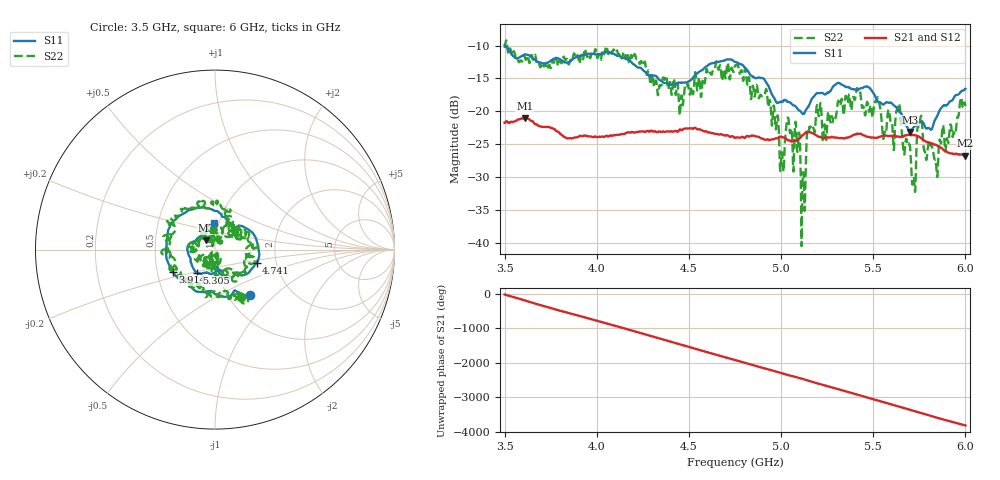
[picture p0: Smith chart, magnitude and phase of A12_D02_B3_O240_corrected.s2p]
! Created with skrf 1.9.0 (http://scikit-rf.org).
# Hz S RI R 50.0
!freq ReS11 ImS11 ReS21 ImS21 ReS12 ImS12 ReS22 ImS22
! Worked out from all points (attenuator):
!   1601 points, 3.5 GHz to 6 GHz, reference 50 ohm
!   highest |S21| = -21.06 dB at 3.609 GHz (marker M1); lowest = -26.7 dB at 6 GHz (marker M2)
!   lowest |S11| = -23.2 dB at 5.698 GHz (marker M3), VSWR 1.15, Z = 45.2 + j4.62 ohm
!   |S11| at or under -10 dB: 3.504 GHz to end of sweep
!   |S22| runs from -40.6 to -9.2 dB; largest |S21 - S12| = 0.001
!   S11 on the Smith chart (normalised r, x): 3.5 GHz: 1.26, -0.71; 3.914 GHz: 0.60, -0.16; 4.741 GHz: 1.58, -0.24; 5.305 GHz: 0.79, -0.21; 6 GHz: 0.94, +0.29
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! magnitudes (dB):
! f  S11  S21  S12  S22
! 3.5 GHz  -9.9  -21.8  -21.7  -10.4
! 3.609 GHz  -11.3  -21.1  -21.1  -11.7
! 3.914 GHz  -11.5  -23.8  -23.7  -11.5
! 3.917 GHz  -11.5  -23.8  -23.8  -11.4
! 4.334 GHz  -15.1  -23.1  -23.1  -17.2
! 4.741 GHz  -12.3  -23.8  -23.9  -14.0
! 4.75 GHz  -12.5  -24.0  -24.0  -13.0
! 4.928 GHz  -16.0  -24.3  -24.3  -18.9
! 5.005 GHz  -18.5  -23.9  -24.0  -26.2
! 5.034 GHz  -18.5  -24.4  -24.3  -21.2
! 5.088 GHz  -19.6  -24.4  -24.4  -26.1
! 5.12 GHz  -20.4  -23.6  -23.5  -29.3
! 5.147 GHz  -19.3  -23.2  -23.2  -23.0
! 5.167 GHz  -18.1  -23.3  -23.3  -22.8
! 5.305 GHz  -15.7  -24.0  -24.0  -19.3
! 5.584 GHz  -18.7  -23.8  -23.7  -19.7
! 5.638 GHz  -19.9  -23.8  -23.8  -18.9
! 5.698 GHz  -23.2  -23.6  -23.5  -25.1
! 5.72 GHz  -22.4  -23.6  -23.6  -30.0
! 5.755 GHz  -21.7  -24.0  -23.9  -21.3
! 5.841 GHz  -21.0  -25.1  -25.1  -27.9
! 6 GHz  -16.6  -26.7  -26.7  -19.2
